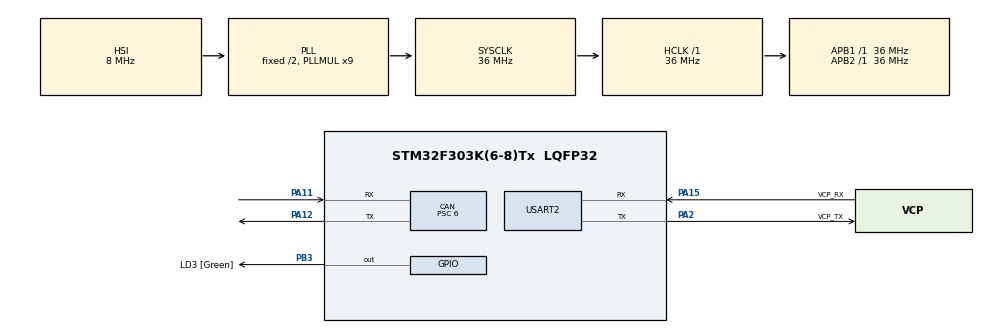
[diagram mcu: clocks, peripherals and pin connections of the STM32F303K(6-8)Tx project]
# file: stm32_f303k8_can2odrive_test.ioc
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CAN.BS1=CAN_BS1_10TQ
CAN.CalculateBaudRate=499999
CAN.CalculateTimeBit=2000
CAN.CalculateTimeQuantum=166.66666666666669
CAN.Prescaler=6
Mcu.Family=STM32F3
Mcu.Name=STM32F303K(6-8)Tx
Mcu.Package=LQFP32
NVIC.CAN_RX0_IRQn=true\:0\:0\:false\:false\:true\:true\:true\:true
NVIC.CAN_TX_IRQn=true\:0\:0\:false\:false\:true\:true\:true\:true
NVIC.PriorityGroup=NVIC_PRIORITYGROUP_4
PA11.Mode=CAN_Activate
PA11.Signal=CAN_RX
PA12.GPIO_PuPd=GPIO_PULLUP
PA12.Mode=CAN_Activate
PA12.Signal=CAN_TX
PA13.GPIO_Label=SWDIO
PA13.Mode=Serial_Wire
PA13.Signal=SYS_JTMS-SWDIO
PA14.GPIO_Label=SWCLK
PA14.Mode=Serial_Wire
PA14.Signal=SYS_JTCK-SWCLK
PA15.GPIO_Label=VCP_RX
PA15.Mode=Asynchronous
PA15.Signal=USART2_RX
PA2.GPIO_Label=VCP_TX
PA2.Mode=Asynchronous
PA2.Signal=USART2_TX
PB3.GPIO_Label=LD3 [Green]
PB3.Signal=GPIO_Output
PF0\ /\ OSC_IN.GPIO_Label=MCO
PF0\ /\ OSC_IN.Mode=HSE-External-Clock-Source
PF0\ /\ OSC_IN.Signal=RCC_OSC_IN
ProjectManager.HeapSize=0x200
ProjectManager.StackSize=0x400
ProjectManager.TargetToolchain=STM32CubeIDE
RCC.AHBFreq_Value=36000000
RCC.APB1Freq_Value=36000000
RCC.APB1TimFreq_Value=36000000
RCC.APB2Freq_Value=36000000
RCC.APB2TimFreq_Value=36000000
RCC.CortexFreq_Value=36000000
RCC.HCLKFreq_Value=36000000
RCC.HSE_VALUE=8000000
RCC.HSI_VALUE=8000000
RCC.PLLMUL=RCC_PLL_MUL9
RCC.SYSCLKFreq_VALUE=36000000
RCC.SYSCLKSourceVirtual=RCC_SYSCLKSOURCE_PLLCLK
USART2.VirtualMode-Asynchronous=VM_ASYNC
board=NUCLEO-F303K8

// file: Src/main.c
/* USER CODE BEGIN Header */
/**
  ******************************************************************************
  * @file           : main.c
  * @brief          : Main program body
  ******************************************************************************
  * @attention
  *
  * <h2><center>&copy; Copyright (c) 2019 STMicroelectronics.
  * All rights reserved.</center></h2>
  *
  * This software component is licensed by ST under BSD 3-Clause license,
  * the "License"; You may not use this file except in compliance with the
  * License. You may obtain a copy of the License at:
  *                        opensource.org/licenses/BSD-3-Clause
  *
  ******************************************************************************
  */
/* USER CODE END Header */
#include "main.h"

 CAN_HandleTypeDef hcan;

UART_HandleTypeDef huart2;

/* USER CODE BEGIN PV */

CAN_FilterTypeDef sFilterConfig;
CAN_TxHeaderTypeDef TxHeader;
CAN_RxHeaderTypeDef RxHeader;
uint8_t TxData[8];
uint8_t RxData[8];
int set_point=10000;
uint32_t TxMailbox;
uint8_t motor_num = 1; //odrive axis id
uint8_t control_mode = 0x00C;//control mode
//uint8_t control_mode = 0x009;
//uint8_t control_mode = 0x017;

/* USER CODE END PV */

void SystemClock_Config(void);
static void MX_GPIO_Init(void);
static void MX_CAN_Init(void);
static void MX_USART2_UART_Init(void);

/* USER CODE BEGIN 0 */
uint8_t uart_data;
char tx_data[]="getdata\r\n";
char tx_data1[]="encoder\r\n";
char tx_data2[]="vel\r\n";
int flag = 1;
/* USER CODE END 0 */

int main(void)
{

  /* MCU Configuration--------------------------------------------------------*/

  /* Reset of all peripherals, Initializes the Flash interface and the Systick. */
  HAL_Init();

  /* Configure the system clock */
  SystemClock_Config();

  /* Initialize all configured peripherals */
  MX_GPIO_Init();
  MX_CAN_Init();
  MX_USART2_UART_Init();
  /* USER CODE BEGIN 2 */

  sFilterConfig.FilterBank = 0;
  sFilterConfig.FilterMode = CAN_FILTERMODE_IDMASK;
  sFilterConfig.FilterScale = CAN_FILTERSCALE_32BIT;
  sFilterConfig.FilterIdHigh = 0x0000;
  sFilterConfig.FilterIdLow = 0x0000;
  sFilterConfig.FilterMaskIdHigh = 0x0000;
  sFilterConfig.FilterMaskIdLow = 0x0000;
  sFilterConfig.FilterFIFOAssignment = CAN_RX_FIFO0;
  sFilterConfig.FilterActivation=ENABLE;
  sFilterConfig.SlaveStartFilterBank=14;

  if(HAL_CAN_ConfigFilter(&hcan,&sFilterConfig) != HAL_OK)
  {
    Error_Handler();
  }
  if(HAL_CAN_Start(&hcan)!=HAL_OK)
  {
    Error_Handler();
  }

  if(HAL_CAN_ActivateNotification(&hcan,CAN_IT_RX_FIFO0_MSG_PENDING | CAN_IT_TX_MAILBOX_EMPTY) != HAL_OK)
  {
	Error_Handler();
  }
  TxHeader.StdId=(motor_num << 5) + (control_mode);
  TxHeader.RTR = 0;//CAN_RTR_DATA;
  TxHeader.IDE = CAN_ID_STD;
  TxHeader.DLC = 0x08;
  TxHeader.TransmitGlobalTime = DISABLE;

  TxData[0] = set_point;
  TxData[1] = set_point >> 8;
  TxData[2] = set_point >> 16;
  TxData[3] = set_point >> 24;
  TxData[4] = 0;
  TxData[5] = 0;
  TxData[6] = 0;
  TxData[7] = 0;
  /*
  TxData[0] = 0;
  TxData[1] = 0;
  TxData[2] = 0;
  TxData[3] = 0;
  TxData[4] = 0;
  TxData[5] = 0;
  TxData[6] = 0;
  TxData[7] = 0;
  */
  /* USER CODE END 2 */

  /* Infinite loop */
  while (1)
  {

    /* USER CODE BEGIN 3 */

	HAL_CAN_AddTxMessage(&hcan,&TxHeader,TxData,&TxMailbox);
	/*
	HAL_Delay(1000);
	for(int j=0; j< 4; j++){
		HAL_UART_Transmit(&huart2,&RxData[j],1,0xFFFF);
		HAL_Delay(10);
	}
	HAL_UART_Transmit(&huart2,tx_data,sizeof(tx_data),0xFFFF);
	HAL_Delay(10);
	//HAL_UART_Transmit(&huart2,RxData,8,0xFFFF);
	for(int j=4; j< 8; j++){
		HAL_UART_Transmit(&huart2,&RxData[j],1,0xFFFF);
		HAL_Delay(10);
	}
	HAL_UART_Transmit(&huart2,tx_data,sizeof(tx_data),0xFFFF);
	HAL_Delay(10);*/
  }
  /* USER CODE END 3 */
}

void SystemClock_Config(void)
{
  RCC_OscInitTypeDef RCC_OscInitStruct = {0};
  RCC_ClkInitTypeDef RCC_ClkInitStruct = {0};

  /** Initializes the RCC Oscillators according to the specified parameters
  * in the RCC_OscInitTypeDef structure.
  */
  RCC_OscInitStruct.OscillatorType = RCC_OSCILLATORTYPE_HSI;
  RCC_OscInitStruct.HSIState = RCC_HSI_ON;
  RCC_OscInitStruct.HSICalibrationValue = RCC_HSICALIBRATION_DEFAULT;
  RCC_OscInitStruct.PLL.PLLState = RCC_PLL_ON;
  RCC_OscInitStruct.PLL.PLLSource = RCC_PLLSOURCE_HSI;
  RCC_OscInitStruct.PLL.PLLMUL = RCC_PLL_MUL9;
  if (HAL_RCC_OscConfig(&RCC_OscInitStruct) != HAL_OK)
  {
    Error_Handler();
  }

  /** Initializes the CPU, AHB and APB buses clocks
  */
  RCC_ClkInitStruct.ClockType = RCC_CLOCKTYPE_HCLK|RCC_CLOCKTYPE_SYSCLK
                              |RCC_CLOCKTYPE_PCLK1|RCC_CLOCKTYPE_PCLK2;
  RCC_ClkInitStruct.SYSCLKSource = RCC_SYSCLKSOURCE_PLLCLK;
  RCC_ClkInitStruct.AHBCLKDivider = RCC_SYSCLK_DIV1;
  RCC_ClkInitStruct.APB1CLKDivider = RCC_HCLK_DIV1;
  RCC_ClkInitStruct.APB2CLKDivider = RCC_HCLK_DIV1;

  if (HAL_RCC_ClockConfig(&RCC_ClkInitStruct, FLASH_LATENCY_1) != HAL_OK)
  {
    Error_Handler();
  }
}

static void MX_CAN_Init(void)
{

  hcan.Instance = CAN;
  hcan.Init.Prescaler = 6;
  hcan.Init.Mode = CAN_MODE_NORMAL;
  hcan.Init.SyncJumpWidth = CAN_SJW_1TQ;
  hcan.Init.TimeSeg1 = CAN_BS1_10TQ;
  hcan.Init.TimeSeg2 = CAN_BS2_1TQ;
  hcan.Init.TimeTriggeredMode = DISABLE;
  hcan.Init.AutoBusOff = DISABLE;
  hcan.Init.AutoWakeUp = DISABLE;
  hcan.Init.AutoRetransmission = DISABLE;
  hcan.Init.ReceiveFifoLocked = DISABLE;
  hcan.Init.TransmitFifoPriority = DISABLE;
  if (HAL_CAN_Init(&hcan) != HAL_OK)
  {
    Error_Handler();
  }

}

static void MX_USART2_UART_Init(void)
{

  huart2.Instance = USART2;
  huart2.Init.BaudRate = 38400;
  huart2.Init.WordLength = UART_WORDLENGTH_8B;
  huart2.Init.StopBits = UART_STOPBITS_1;
  huart2.Init.Parity = UART_PARITY_NONE;
  huart2.Init.Mode = UART_MODE_TX_RX;
  huart2.Init.HwFlowCtl = UART_HWCONTROL_NONE;
  huart2.Init.OverSampling = UART_OVERSAMPLING_16;
  huart2.Init.OneBitSampling = UART_ONE_BIT_SAMPLE_DISABLE;
  huart2.AdvancedInit.AdvFeatureInit = UART_ADVFEATURE_NO_INIT;
  if (HAL_UART_Init(&huart2) != HAL_OK)
  {
    Error_Handler();
  }

}

static void MX_GPIO_Init(void)
{
  GPIO_InitTypeDef GPIO_InitStruct = {0};

  /* GPIO Ports Clock Enable */
  __HAL_RCC_GPIOF_CLK_ENABLE();
  __HAL_RCC_GPIOA_CLK_ENABLE();
  __HAL_RCC_GPIOB_CLK_ENABLE();

  /*Configure GPIO pin Output Level */
  HAL_GPIO_WritePin(LD3_GPIO_Port, LD3_Pin, GPIO_PIN_RESET);

  /*Configure GPIO pin : LD3_Pin */
  GPIO_InitStruct.Pin = LD3_Pin;
  GPIO_InitStruct.Mode = GPIO_MODE_OUTPUT_PP;
  GPIO_InitStruct.Pull = GPIO_NOPULL;
  GPIO_InitStruct.Speed = GPIO_SPEED_FREQ_LOW;
  HAL_GPIO_Init(LD3_GPIO_Port, &GPIO_InitStruct);

}

/* USER CODE BEGIN 4 */
void HAL_CAN_TxMailbox0CompleteCallack(CAN_HandleTypeDef *hcan)
{
	  HAL_GPIO_WritePin(GPIOB,GPIO_PIN_3,1);
}

void HAL_CAN_RxFifo0MsgPendingCallback(CAN_HandleTypeDef *hcan_)
{
  HAL_CAN_GetRxMessage(&hcan,CAN_RX_FIFO0,&RxHeader,RxData);

  //HAL_UART_Transmit(&huart2,&RxHeader.StdId,sizeof(&RxHeader.StdId),0xFFFF);

  /*
  for(int j=0; j< 4; j++){
	  HAL_UART_Transmit(&huart2,&RxData[j],1,0xFFFF);
	  HAL_Delay(10);
  }
*/
  //HAL_UART_Transmit(&huart2,RxData,4,0xFFFF);

  flag *= -1;
  if(flag >0){
	  HAL_GPIO_WritePin(GPIOB,GPIO_PIN_3,1);
  }else{
	  HAL_GPIO_WritePin(GPIOB,GPIO_PIN_3,0);
  }

}

/* USER CODE END 4 */

void Error_Handler(void)
{
}
